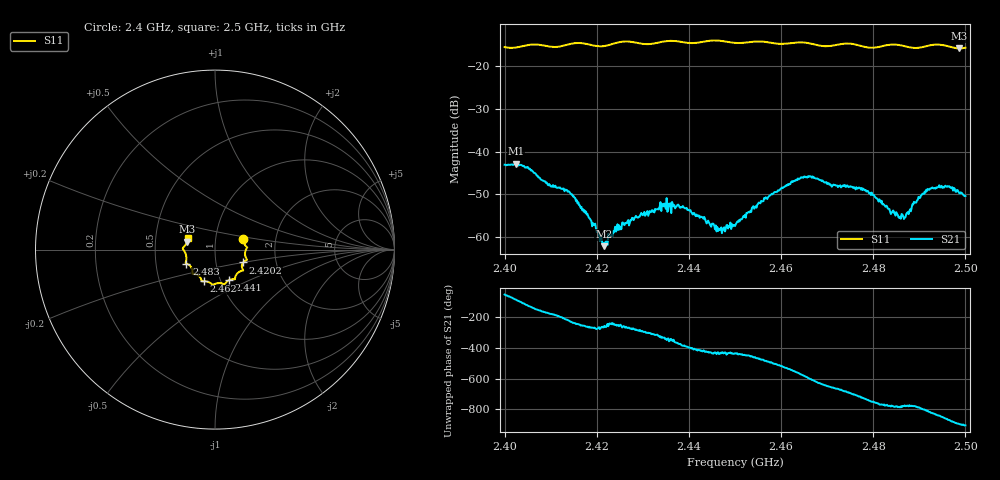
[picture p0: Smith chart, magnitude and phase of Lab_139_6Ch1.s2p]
# Hz S RI R 50
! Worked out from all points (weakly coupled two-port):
!   601 points, 2.4 GHz to 2.5 GHz, reference 50 ohm
!   highest |S21| = -42.83 dB at 2.4025 GHz (marker M1); lowest = -62.2 dB at 2.4215 GHz (marker M2)
!   lowest |S11| = -15.8 dB at 2.4987 GHz (marker M3), VSWR 1.39, Z = 36.4 + j3.28 ohm
!   |S11| at or under -10 dB: start of sweep to end of sweep
!   S12 and S22 are empty: the file has one direction only
!   S11 on the Smith chart (normalised r, x): 2.4 GHz: 1.36, +0.17; 2.4202 GHz: 1.35, -0.20; 2.441 GHz: 1.10, -0.39; 2.462 GHz: 0.83, -0.30; 2.483 GHz: 0.72, -0.12; 2.5 GHz: 0.73, +0.09
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2.4e9  0.1565 0.0606  0.00428 -0.00557  0 0  0 0
2.4025e9  0.1634 0.0312  0.000468 -0.00721  0 0  0 0
2.413667e9  0.1732 -0.0467  -0.00268 0.0021  0 0  0 0
2.416667e9  0.1778 -0.0582  -0.000637 0.00216  0 0  0 0
2.420167e9  0.1564 -0.0717  8.66e-05 0.00114  0 0  0 0
2.4215e9  0.1503 -0.0841  -5.15e-05 0.000778  0 0  0 0
2.426e9  0.1571 -0.116  -0.000166 0.00137  0 0  0 0
2.433333e9  0.113 -0.1522  0.00168 0.00134  0 0  0 0
2.437833e9  0.1046 -0.1648  0.00225 -0.000564  0 0  0 0
2.441e9  0.077 -0.1706  0.00121 -0.00148  0 0  0 0
2.446167e9  0.0514 -0.1939  0.000438 -0.00123  0 0  0 0
2.45e9  0.0267 -0.1863  0.000331 -0.0013  0 0  0 0
2.462e9  -0.0616 -0.1762  -0.00416 3.36e-05  0 0  0 0
2.466667e9  -0.0764 -0.1669  -0.00182 0.0046  0 0  0 0
2.478333e9  -0.1271 -0.11  0.00345 -0.000864  0 0  0 0
2.483e9  -0.159 -0.0781  0.00144 -0.00177  0 0  0 0
2.483333e9  -0.1605 -0.0774  0.0011 -0.00182  0 0  0 0
2.4865e9  -0.1616 -0.0641  0.000864 -0.00152  0 0  0 0
2.492333e9  -0.1764 -0.00064  -0.000538 -0.00365  0 0  0 0
2.496e9  -0.1722 0.016  -0.00307 -0.00236  0 0  0 0
2.498667e9  -0.1558 0.0439  -0.00325 -0.00023  0 0  0 0
2.5e9  -0.1531 0.0624  -0.00301 0.000284  0 0  0 0
